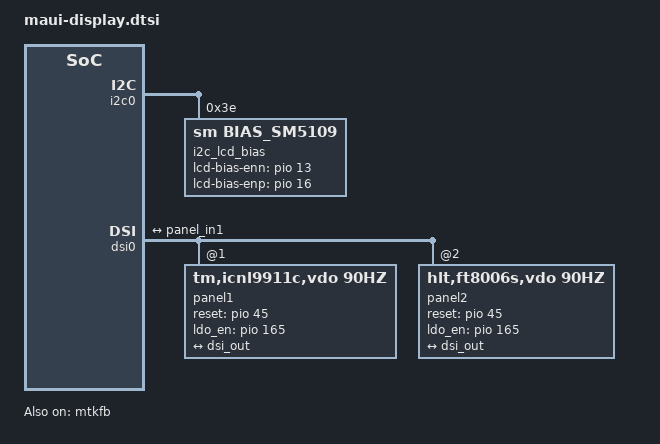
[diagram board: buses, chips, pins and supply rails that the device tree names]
/* Copyright (c) 2021, The Linux Foundation. All rights reserved.
 *
 * This program is free software; you can redistribute it and/or modify
 * it under the terms of the GNU General Public License version 2 and
 * only version 2 as published by the Free Software Foundation.
 *
 * This program is distributed in the hope that it will be useful,
 * but WITHOUT ANY WARRANTY; without even the implied warranty of
 * MERCHANTABILITY or FITNESS FOR A PARTICULAR PURPOSE.  See the
 * GNU General Public License for more details.
 */

&i2c0 {
	id = <0x0>;

	i2c_lcd_bias@3e {
		compatible = "sm,bias_sm5109";
		reg = <0x3e>;
		sm,lcd-bias-enn-gpio = <&pio 13 0>;
		sm,lcd-bias-enp-gpio = <&pio 16 0>;
		status = "okay";
	};
};

&mtk_leds {
	compatible = "mediatek,disp-leds";
	backlight {
		label = "lcd-backlight";
		led_mode = <4>;
		max-brightness = <1638>; /*2047*0.8*/
		max-hw-brightness = <1638>; /*2047*0.8*/
		default-brightness = <1448>; /*1810*0.8*/
	};
};

&mtkfb {
	pinctrl-names = "dispdefault", "lcm_rst_out0_gpio", "lcm_rst_out1_gpio",
			"lcd_bias_enp0_gpio", "lcd_bias_enp1_gpio",
			"lcd_bias_enn0_gpio", "lcd_bias_enn1_gpio",
			"lcm_pwr_en_out0_gpio", "lcm_pwr_en_out1_gpio";
	pinctrl-0 = <&mtkfb_pins_default>;
	pinctrl-1 = <&mtkfb_pins_lcm_reset0>;
	pinctrl-2 = <&mtkfb_pins_lcm_reset1>;
	pinctrl-3 = <&mtkfb_pins_lcd_bias_enp0>;
	pinctrl-4 = <&mtkfb_pins_lcd_bias_enp1>;
	pinctrl-5 = <&mtkfb_pins_lcd_bias_enn0>;
	pinctrl-6 = <&mtkfb_pins_lcd_bias_enn1>;
	pinctrl-7 = <&mtkfb_pins_lcm_pwr_en_out0>;
	pinctrl-8 = <&mtkfb_pins_lcm_pwr_en_out1>;
	status = "okay";
};

&pio {
	mtkfb_pins_lcm_reset0: lcm_rst_out0_gpio {
		pins_cmd_dat {
			pinmux = <PINMUX_GPIO45__FUNC_GPIO45>;
			slew-rate = <1>;
			output-low;
		};
	};

	mtkfb_pins_lcm_reset1: lcm_rst_out1_gpio {
		pins_cmd_dat {
			pinmux = <PINMUX_GPIO45__FUNC_GPIO45>;
			slew-rate = <1>;
			output-high;
		};
	};

	mtkfb_pins_lcd_bias_enp0: lcd_bias_enp0_gpio {
		pins_cmd_dat {
			pinmux = <PINMUX_GPIO16__FUNC_GPIO16>;
			slew-rate = <1>;
			output-low;
		};
	};

	mtkfb_pins_lcd_bias_enp1: lcd_bias_enp1_gpio {
		pins_cmd_dat {
			pinmux = <PINMUX_GPIO16__FUNC_GPIO16>;
			slew-rate = <1>;
			output-high;
		};
	};

	mtkfb_pins_lcd_bias_enn0: lcd_bias_enn0_gpio {
		pins_cmd_dat {
			pinmux = <PINMUX_GPIO13__FUNC_GPIO13>;
			slew-rate = <1>;
			output-low;
		};
	};

	mtkfb_pins_lcd_bias_enn1: lcd_bias_enn1_gpio {
		pins_cmd_dat {
			pinmux = <PINMUX_GPIO13__FUNC_GPIO13>;
			slew-rate = <1>;
			output-high;
		};
	};

	mtkfb_pins_lcm_pwr_en_out0: lcm_pwr_en_out0_gpio {
		pins_cmd_dat {
			pinmux = <PINMUX_GPIO165__FUNC_GPIO165>;
			slew-rate = <1>;
			output-low;
		};
	};

	mtkfb_pins_lcm_pwr_en_out1: lcm_pwr_en_out1_gpio {
		pins_cmd_dat {
			pinmux = <PINMUX_GPIO165__FUNC_GPIO165>;
			slew-rate = <1>;
			output-high;
		};
	};

	mtkfb_pins_default: dispdefault {
	};
};

&dsi0 {
	status = "okay";

	#address-cells = <1>;
	#size-cells = <0>;

	panel1@0 {
		/delete-property/ compatible;
		/delete-property/ pm-enable-gpios;
		/delete-property/ reset-gpios;
		/delete-property/ gate-ic;

		compatible = "tm,icnl9911c,vdo,90hz";
		reg = <1>;
		reset-gpios = <&pio 45 0>;
		ldo_en-gpios = <&pio 165 0>;
		pinctrl-names = "default";
		port {
			panel_in1: endpoint {
				remote-endpoint = <&dsi_out>;
			};
		};
	};

	panel2@0 {
		/delete-property/ compatible;
		/delete-property/ pm-enable-gpios;
		/delete-property/ reset-gpios;
		/delete-property/ gate-ic;

		compatible = "hlt,ft8006s,vdo,90hz";
		reg = <2>;
		reset-gpios = <&pio 45 0>;
		ldo_en-gpios = <&pio 165 0>;
		pinctrl-names = "default";
		port {
			panel_in2: endpoint {
				remote-endpoint = <&dsi_out>;
			};
		};
	};

	ports {
		port {
			dsi_out: endpoint {
				remote-endpoint = <&panel_in1>;
			};
		};
	};
};
